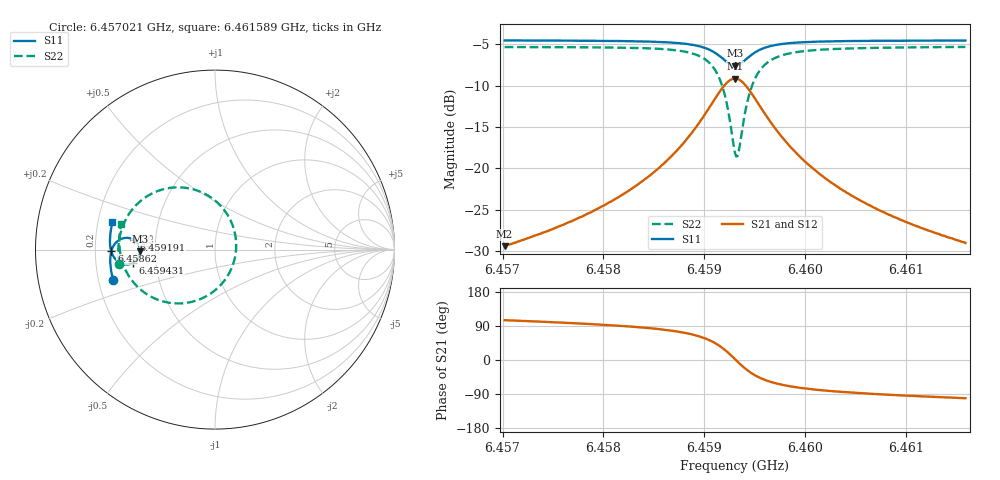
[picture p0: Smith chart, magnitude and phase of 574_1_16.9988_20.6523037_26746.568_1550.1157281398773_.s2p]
#  HZ  S  RI  R  50.00
! Rohde & Schwarz Vector Network Analyzer
! Rohde-Schwarz,ZNB20-2Port,1311601062101988,3.16
! Created: UTC 3/20/2024, 11:17:50 PM
! freq[Hz]  re:S11  im:S11  re:S21  im:S21  re:S12  im:S12  re:S22  im:S22
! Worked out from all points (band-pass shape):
!   401 points, 6.457021 GHz to 6.461589 GHz, reference 50 ohm
!   highest |S21| = -9.16 dB at 6.459305 GHz (marker M1); lowest = -29.4 dB at 6.457021 GHz (marker M2)
!   |S21| within 3 dB of the highest: 6.459077 GHz to 6.459534 GHz (456.3 kHz wide, 0.00706 % of centre)
!   lowest |S11| = -7.6 dB at 6.459305 GHz (marker M3), VSWR 2.43, Z = 20.6 - j0.419 ohm
!   |S11| at or under -10 dB: nowhere
!   |S22| runs from -18.6 to -5.3 dB; largest |S21 - S12| = 0.014
!   S11 on the Smith chart (normalised r, x): 6.457021 GHz: 0.26, -0.14; 6.45862 GHz: 0.27, -0.01; 6.459191 GHz: 0.37, +0.05; 6.459431 GHz: 0.37, -0.07; 6.461589 GHz: 0.26, +0.12
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6.4570208e9  -0.5676 -0.1688  -0.00878 0.0326  -0.00697 0.0328  -0.5337 -0.0808
6.457786e9  -0.5812 -0.1017  -0.00532 0.0507  -0.00278 0.0502  -0.5385 0.0092
6.4582086e9  -0.584 -0.0593  0.000628 0.0705  0.00394 0.069  -0.5298 0.0768
6.4585513e9  -0.5798 -0.0181  0.0148 0.0994  0.0188 0.0966  -0.5038 0.1547
6.4586198e9  -0.5775 -0.00855  0.0201 0.1077  0.0243 0.1045  -0.4935 0.1748
6.458814e9  -0.5648 0.0218  0.0471 0.1389  0.0511 0.1339  -0.4432 0.2441
6.4589624e9  -0.5419 0.048  0.0927 0.1694  0.0959 0.1626  -0.3587 0.3086
6.4590995e9  -0.4978 0.0655  0.1805 0.1859  0.1814 0.1783  -0.1979 0.3468
6.4591909e9  -0.453 0.0551  0.2711 0.1543  0.2712 0.1482  -0.0302 0.2955
6.4592594e9  -0.4237 0.0228  0.3319 0.0817  0.334 0.0763  0.086 0.1647
6.4593051e9  -0.4168 -0.00842  0.3483 0.013  0.352 0.00616  0.1181 0.0362
6.4593165e9  -0.4172 -0.0167  0.348 -0.00468  0.352 -0.0124  0.1179 0.00223
6.4593393e9  -0.4207 -0.0323  0.3425 -0.0397  0.3463 -0.0491  0.1064 -0.0644
6.459385e9  -0.4365 -0.0586  0.3134 -0.1001  0.3157 -0.1123  0.0478 -0.1786
6.4594307e9  -0.4587 -0.0752  0.2708 -0.1414  0.27 -0.1549  -0.0386 -0.254
6.4595221e9  -0.5025 -0.0821  0.1851 -0.1726  0.1789 -0.1844  -0.2097 -0.2998
6.4596706e9  -0.5466 -0.0616  0.0964 -0.1584  0.0878 -0.1647  -0.379 -0.2493
6.4598304e9  -0.5682 -0.0337  0.0514 -0.1299  0.0436 -0.1329  -0.4598 -0.1761
6.4600703e9  -0.5808 0.00193  0.0221 -0.0981  0.0162 -0.0986  -0.5077 -0.0928
6.4604015e9  -0.5854 0.0415  0.00646 -0.0716  0.00221 -0.0712  -0.5286 -0.0155
6.4608355e9  -0.5835 0.0856  -0.00166 -0.0522  -0.00452 -0.0513  -0.533 0.0551
6.4615893e9  -0.5712 0.1523  -0.00662 -0.0347  -0.00837 -0.0339  -0.5213 0.1448
